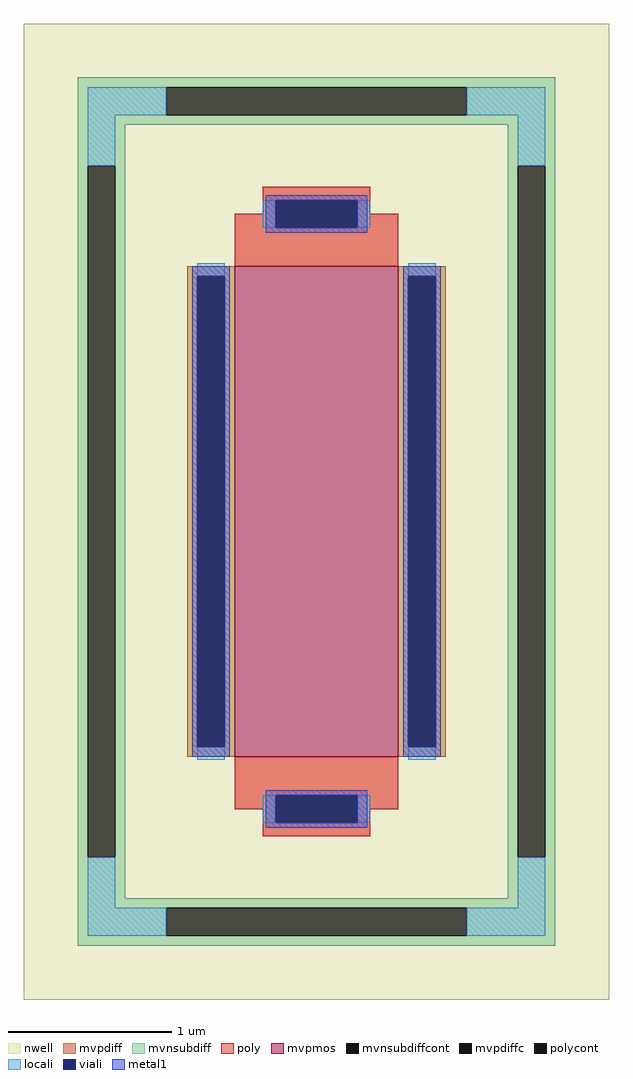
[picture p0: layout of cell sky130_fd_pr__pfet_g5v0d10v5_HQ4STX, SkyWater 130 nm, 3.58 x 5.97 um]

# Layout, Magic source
magic
tech sky130A
magscale 1 2
<< nwell >>
rect -358 -597 358 597
<< mvpmos >>
rect -100 -300 100 300
<< mvpdiff >>
rect -158 288 -100 300
rect -158 -288 -146 288
rect -112 -288 -100 288
rect -158 -300 -100 -288
rect 100 288 158 300
rect 100 -288 112 288
rect 146 -288 158 288
rect 100 -300 158 -288
<< mvpdiffc >>
rect -146 -288 -112 288
rect 112 -288 146 288
<< mvnsubdiff >>
rect -292 519 292 531
rect -292 485 -184 519
rect 184 485 292 519
rect -292 473 292 485
rect -292 423 -234 473
rect -292 -423 -280 423
rect -246 -423 -234 423
rect 234 423 292 473
rect -292 -473 -234 -423
rect 234 -423 246 423
rect 280 -423 292 423
rect 234 -473 292 -423
rect -292 -485 292 -473
rect -292 -519 -184 -485
rect 184 -519 292 -485
rect -292 -531 292 -519
<< mvnsubdiffcont >>
rect -184 485 184 519
rect -280 -423 -246 423
rect 246 -423 280 423
rect -184 -519 184 -485
<< poly >>
rect -66 381 66 397
rect -66 364 -50 381
rect -100 347 -50 364
rect 50 364 66 381
rect 50 347 100 364
rect -100 300 100 347
rect -100 -347 100 -300
rect -100 -364 -50 -347
rect -66 -381 -50 -364
rect 50 -364 100 -347
rect 50 -381 66 -364
rect -66 -397 66 -381
<< polycont >>
rect -50 347 50 381
rect -50 -381 50 -347
<< locali >>
rect -280 485 -184 519
rect 184 485 280 519
rect -280 423 -246 485
rect 246 423 280 485
rect -66 347 -50 381
rect 50 347 66 381
rect -146 288 -112 304
rect -146 -304 -112 -288
rect 112 288 146 304
rect 112 -304 146 -288
rect -66 -381 -50 -347
rect 50 -381 66 -347
rect -280 -485 -246 -423
rect 246 -485 280 -423
rect -280 -519 -184 -485
rect 184 -519 280 -485
<< viali >>
rect -50 347 50 381
rect -146 -288 -112 288
rect 112 -288 146 288
rect -50 -381 50 -347
<< metal1 >>
rect -62 381 62 387
rect -62 347 -50 381
rect 50 347 62 381
rect -62 341 62 347
rect -152 288 -106 300
rect -152 -288 -146 288
rect -112 -288 -106 288
rect -152 -300 -106 -288
rect 106 288 152 300
rect 106 -288 112 288
rect 146 -288 152 288
rect 106 -300 152 -288
rect -62 -347 62 -341
rect -62 -381 -50 -347
rect 50 -381 62 -347
rect -62 -387 62 -381
<< properties >>
string FIXED_BBOX -263 -502 263 502
string gencell sky130_fd_pr__pfet_g5v0d10v5
string library sky130
string parameters w 3 l 1 m 1 nf 1 diffcov 100 polycov 60 guard 1 glc 1 grc 1 gtc 1 gbc 1 tbcov 100 rlcov 100 topc 1 botc 1 poverlap 0 doverlap 1 lmin 0.50 wmin 0.42 compatible {sky130_fd_pr__pfet_01v8  sky130_fd_pr__pfet_01v8_lvt sky130_fd_pr__pfet_01v8_hvt  sky130_fd_pr__pfet_g5v0d10v5} full_metal 1 viasrc 100 viadrn 100 viagate 60 viagb 0 viagr 0 viagl 0 viagt 0
<< end >>
